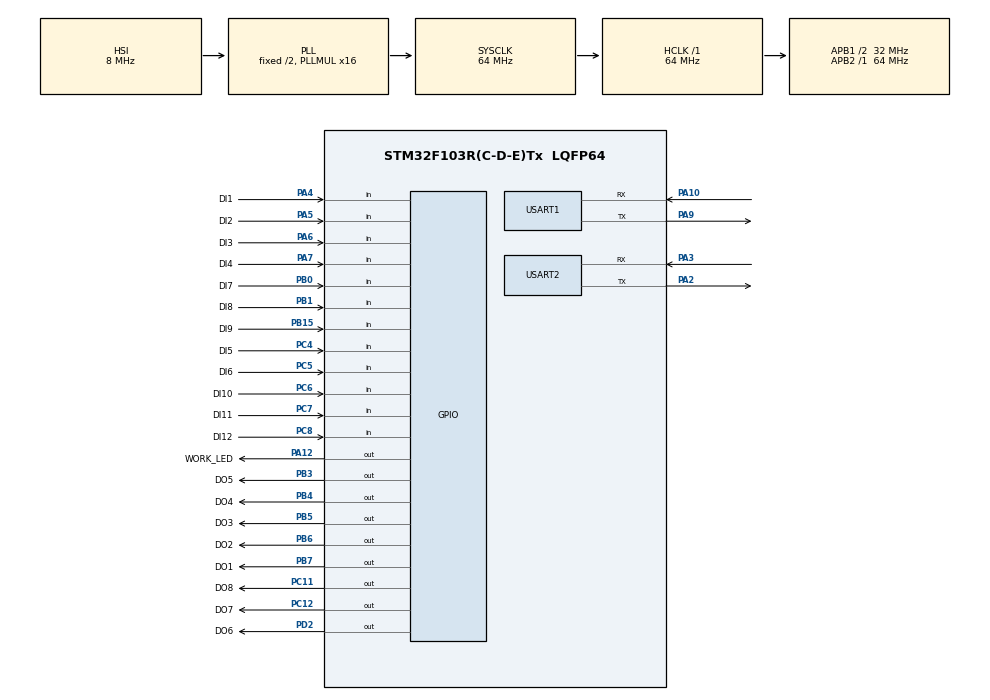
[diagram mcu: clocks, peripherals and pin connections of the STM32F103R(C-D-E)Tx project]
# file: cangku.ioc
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IWDG.Prescaler=IWDG_PRESCALER_256
Mcu.Family=STM32F1
Mcu.Name=STM32F103R(C-D-E)Tx
Mcu.Package=LQFP64
NVIC.FLASH_IRQn=true\:0\:0\:false\:false\:true\:true
NVIC.PriorityGroup=NVIC_PRIORITYGROUP_4
NVIC.RCC_IRQn=true\:0\:0\:false\:true\:true\:3\:true
NVIC.USART1_IRQn=true\:0\:0\:false\:true\:true\:2\:true
NVIC.USART2_IRQn=true\:0\:0\:false\:true\:true\:1\:true
PA10.GPIO_PuPd=GPIO_PULLUP
PA10.Mode=Asynchronous
PA10.Signal=USART1_RX
PA12.GPIO_Label=WORK_LED
PA12.GPIO_PuPd=GPIO_PULLUP
PA12.Signal=GPIO_Output
PA13.Mode=Serial_Wire
PA13.Signal=SYS_JTMS-SWDIO
PA14.Mode=Serial_Wire
PA14.Signal=SYS_JTCK-SWCLK
PA2.Mode=Asynchronous
PA2.Signal=USART2_TX
PA3.GPIO_PuPd=GPIO_PULLUP
PA3.Mode=Asynchronous
PA3.Signal=USART2_RX
PA4.GPIO_Label=DI1
PA4.GPIO_PuPd=GPIO_PULLUP
PA4.Signal=GPIO_Input
PA5.GPIO_Label=DI2
PA5.GPIO_PuPd=GPIO_PULLUP
PA5.Signal=GPIO_Input
PA6.GPIO_Label=DI3
PA6.GPIO_PuPd=GPIO_PULLUP
PA6.Signal=GPIO_Input
PA7.GPIO_Label=DI4
PA7.GPIO_PuPd=GPIO_PULLUP
PA7.Signal=GPIO_Input
PA9.GPIO_Mode=GPIO_MODE_AF_PP
PA9.Mode=Asynchronous
PA9.Signal=USART1_TX
PB0.GPIO_Label=DI7
PB0.GPIO_PuPd=GPIO_PULLUP
PB0.Signal=GPIO_Input
PB1.GPIO_Label=DI8
PB1.GPIO_PuPd=GPIO_PULLUP
PB1.Signal=GPIO_Input
PB15.GPIO_Label=DI9
PB15.GPIO_PuPd=GPIO_PULLUP
PB15.Signal=GPIO_Input
PB3.GPIO_Label=DO5
PB3.GPIO_PuPd=GPIO_PULLUP
PB3.Signal=GPIO_Output
PB4.GPIO_Label=DO4
PB4.GPIO_PuPd=GPIO_PULLUP
PB4.Signal=GPIO_Output
PB5.GPIO_Label=DO3
PB5.GPIO_PuPd=GPIO_PULLUP
PB5.Signal=GPIO_Output
PB6.GPIO_Label=DO2
PB6.GPIO_PuPd=GPIO_PULLUP
PB6.Signal=GPIO_Output
PB7.GPIO_Label=DO1
PB7.GPIO_PuPd=GPIO_PULLUP
PB7.Signal=GPIO_Output
PC11.GPIO_Label=DO8
PC11.GPIO_PuPd=GPIO_PULLUP
PC11.Signal=GPIO_Output
PC12.GPIO_Label=DO7
PC12.GPIO_PuPd=GPIO_PULLUP
PC12.Signal=GPIO_Output
PC4.GPIO_Label=DI5
PC4.GPIO_PuPd=GPIO_PULLUP
PC4.Signal=GPIO_Input
PC5.GPIO_Label=DI6
PC5.GPIO_PuPd=GPIO_PULLUP
PC5.Signal=GPIO_Input
PC6.GPIO_Label=DI10
PC6.GPIO_PuPd=GPIO_PULLUP
PC6.Signal=GPIO_Input
PC7.GPIO_Label=DI11
PC7.GPIO_PuPd=GPIO_PULLUP
PC7.Signal=GPIO_Input
PC8.GPIO_Label=DI12
PC8.GPIO_PuPd=GPIO_PULLUP
PC8.Signal=GPIO_Input
PD2.GPIO_Label=DO6
PD2.GPIO_PuPd=GPIO_PULLUP
PD2.Signal=GPIO_Output
ProjectManager.HeapSize=0x200
ProjectManager.StackSize=0x400
ProjectManager.TargetToolchain=MDK-ARM V5
RCC.AHBFreq_Value=64000000
RCC.APB1CLKDivider=RCC_HCLK_DIV2
RCC.APB1Freq_Value=32000000
RCC.APB1TimFreq_Value=64000000
RCC.APB2Freq_Value=64000000
RCC.APB2TimFreq_Value=64000000
RCC.HCLKFreq_Value=64000000
RCC.PLLMUL=RCC_PLL_MUL16
RCC.SYSCLKFreq_VALUE=64000000
RCC.SYSCLKSource=RCC_SYSCLKSOURCE_PLLCLK
RCC.USBFreq_Value=64000000
USART1.VirtualMode=VM_ASYNC
USART2.VirtualMode=VM_ASYNC
VP_IWDG_VS_IWDG.Mode=IWDG_Activate
board=custom

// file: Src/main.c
/**
  ******************************************************************************
  * @file           : main.c
  * @brief          : Main program body
  ******************************************************************************
  ** This notice applies to any and all portions of this file
  * that are not between comment pairs USER CODE BEGIN and
  * USER CODE END. Other portions of this file, whether
  * inserted by the user or by software development tools
  * are owned by their respective copyright owners.
  *
  * COPYRIGHT(c) 2018 STMicroelectronics
  *
  * Redistribution and use in source and binary forms, with or without modification,
  * are permitted provided that the following conditions are met:
  *   1. Redistributions of source code must retain the above copyright notice,
  *      this list of conditions and the following disclaimer.
  *   2. Redistributions in binary form must reproduce the above copyright notice,
  *      this list of conditions and the following disclaimer in the documentation
  *      and/or other materials provided with the distribution.
  *   3. Neither the name of STMicroelectronics nor the names of its contributors
  *      may be used to endorse or promote products derived from this software
  *      without specific prior written permission.
  *
  * THIS SOFTWARE IS PROVIDED BY THE COPYRIGHT HOLDERS AND CONTRIBUTORS "AS IS"
  * AND ANY EXPRESS OR IMPLIED WARRANTIES, INCLUDING, BUT NOT LIMITED TO, THE
  * IMPLIED WARRANTIES OF MERCHANTABILITY AND FITNESS FOR A PARTICULAR PURPOSE ARE
  * DISCLAIMED. IN NO EVENT SHALL THE COPYRIGHT HOLDER OR CONTRIBUTORS BE LIABLE
  * FOR ANY DIRECT, INDIRECT, INCIDENTAL, SPECIAL, EXEMPLARY, OR CONSEQUENTIAL
  * DAMAGES (INCLUDING, BUT NOT LIMITED TO, PROCUREMENT OF SUBSTITUTE GOODS OR
  * SERVICES; LOSS OF USE, DATA, OR PROFITS; OR BUSINESS INTERRUPTION) HOWEVER
  * CAUSED AND ON ANY THEORY OF LIABILITY, WHETHER IN CONTRACT, STRICT LIABILITY,
  * OR TORT (INCLUDING NEGLIGENCE OR OTHERWISE) ARISING IN ANY WAY OUT OF THE USE
  * OF THIS SOFTWARE, EVEN IF ADVISED OF THE POSSIBILITY OF SUCH DAMAGE.
  *
  ******************************************************************************
  */
#include "main.h"
#include "stm32f1xx_hal.h"

/* USER CODE BEGIN Includes */

#include "config.h"
/* USER CODE END Includes */

IWDG_HandleTypeDef hiwdg;

UART_HandleTypeDef huart1;
UART_HandleTypeDef huart2;

/* USER CODE BEGIN PV */
/* Private variables ---------------------------------------------------------*/

/* USER CODE END PV */

void SystemClock_Config(void);
static void MX_GPIO_Init(void);
static void MX_USART1_UART_Init(void);
static void MX_USART2_UART_Init(void);
static void MX_IWDG_Init(void);
static void MX_NVIC_Init(void);

/* USER CODE BEGIN PFP */
/* Private function prototypes -----------------------------------------------*/

volatile uint32_t task=0;

/* USER CODE END PFP */

/* USER CODE BEGIN 0 */

void delay(uint32_t ms)
{
	uint32_t smtp=task;
	while(smtp+ms>task);
}

/* USER CODE END 0 */

int main(void)
{

  /* MCU Configuration----------------------------------------------------------*/

  /* Reset of all peripherals, Initializes the Flash interface and the Systick. */
  HAL_Init();

  /* Configure the system clock */
  SystemClock_Config();

  /* Initialize all configured peripherals */
  MX_GPIO_Init();
  MX_USART1_UART_Init();
  MX_USART2_UART_Init();
//  MX_IWDG_Init();

  /* Initialize interrupts */
  MX_NVIC_Init();

  /* Infinite loop */
  /* USER CODE BEGIN WHILE */

	uint32_t	work_time=0;

	Config_Init();
  while (1)
  {
//		if(500<work_time)
		{
			work_time=0;
			HAL_GPIO_TogglePin(WORK_LED_GPIO_Port,WORK_LED_Pin);
		}

		DI.DI1=HAL_GPIO_ReadPin(DI1_GPIO_Port,DI1_Pin);
		DI.DI2=HAL_GPIO_ReadPin(DI2_GPIO_Port,DI2_Pin);
		DI.DI3=HAL_GPIO_ReadPin(DI3_GPIO_Port,DI3_Pin);
		DI.DI4=HAL_GPIO_ReadPin(DI4_GPIO_Port,DI4_Pin);
		DI.DI5=HAL_GPIO_ReadPin(DI5_GPIO_Port,DI5_Pin);
		DI.DI6=HAL_GPIO_ReadPin(DI6_GPIO_Port,DI6_Pin);
		DI.DI7=HAL_GPIO_ReadPin(DI7_GPIO_Port,DI7_Pin);
		DI.DI8=HAL_GPIO_ReadPin(DI8_GPIO_Port,DI8_Pin);
		DI.DI9=HAL_GPIO_ReadPin(DI9_GPIO_Port,DI9_Pin);
		DI.DI10=HAL_GPIO_ReadPin(DI10_GPIO_Port,DI10_Pin);
		DI.DI11=HAL_GPIO_ReadPin(DI11_GPIO_Port,DI11_Pin);
		DI.DI12=HAL_GPIO_ReadPin(DI12_GPIO_Port,DI12_Pin);

//		HAL_GPIO_WritePin(DO1_GPIO_Port,DO1_Pin,DO.DO1);
		HAL_GPIO_WritePin(DO2_GPIO_Port,DO2_Pin,DO.DO2);
		HAL_GPIO_WritePin(DO3_GPIO_Port,DO3_Pin,DO.DO3);
		HAL_GPIO_WritePin(DO4_GPIO_Port,DO4_Pin,DO.DO4);
		HAL_GPIO_WritePin(DO5_GPIO_Port,DO5_Pin,DO.DO5);
		HAL_GPIO_WritePin(DO6_GPIO_Port,DO6_Pin,DO.DO6);
		HAL_GPIO_WritePin(DO7_GPIO_Port,DO7_Pin,DO.DO7);
		HAL_GPIO_WritePin(DO8_GPIO_Port,DO8_Pin,DO.DO8);

		if(0!=DI.DI12)
			HAL_GPIO_TogglePin(DO1_GPIO_Port,DO1_Pin);

		delay(500);
  /* USER CODE END WHILE */

  }

}

void SystemClock_Config(void)
{

  RCC_OscInitTypeDef RCC_OscInitStruct;
  RCC_ClkInitTypeDef RCC_ClkInitStruct;

    /**Initializes the CPU, AHB and APB busses clocks
    */
  RCC_OscInitStruct.OscillatorType = RCC_OSCILLATORTYPE_HSI|RCC_OSCILLATORTYPE_LSI;
  RCC_OscInitStruct.HSIState = RCC_HSI_ON;
  RCC_OscInitStruct.HSICalibrationValue = 16;
  RCC_OscInitStruct.LSIState = RCC_LSI_ON;
  RCC_OscInitStruct.PLL.PLLState = RCC_PLL_ON;
  RCC_OscInitStruct.PLL.PLLSource = RCC_PLLSOURCE_HSI_DIV2;
  RCC_OscInitStruct.PLL.PLLMUL = RCC_PLL_MUL16;
  if (HAL_RCC_OscConfig(&RCC_OscInitStruct) != HAL_OK)
  {
    _Error_Handler(__FILE__, __LINE__);
  }

    /**Initializes the CPU, AHB and APB busses clocks
    */
  RCC_ClkInitStruct.ClockType = RCC_CLOCKTYPE_HCLK|RCC_CLOCKTYPE_SYSCLK
                              |RCC_CLOCKTYPE_PCLK1|RCC_CLOCKTYPE_PCLK2;
  RCC_ClkInitStruct.SYSCLKSource = RCC_SYSCLKSOURCE_PLLCLK;
  RCC_ClkInitStruct.AHBCLKDivider = RCC_SYSCLK_DIV1;
  RCC_ClkInitStruct.APB1CLKDivider = RCC_HCLK_DIV2;
  RCC_ClkInitStruct.APB2CLKDivider = RCC_HCLK_DIV1;

  if (HAL_RCC_ClockConfig(&RCC_ClkInitStruct, FLASH_LATENCY_2) != HAL_OK)
  {
    _Error_Handler(__FILE__, __LINE__);
  }

    /**Configure the Systick interrupt time
    */
  HAL_SYSTICK_Config(HAL_RCC_GetHCLKFreq()/1000);

    /**Configure the Systick
    */
  HAL_SYSTICK_CLKSourceConfig(SYSTICK_CLKSOURCE_HCLK);

  /* SysTick_IRQn interrupt configuration */
  HAL_NVIC_SetPriority(SysTick_IRQn, 0, 0);
}

/**
  * @brief NVIC Configuration.
  * @retval None
  */
static void MX_NVIC_Init(void)
{
  /* USART2_IRQn interrupt configuration */
  HAL_NVIC_SetPriority(USART2_IRQn, 0, 0);
  HAL_NVIC_EnableIRQ(USART2_IRQn);
  /* USART1_IRQn interrupt configuration */
  HAL_NVIC_SetPriority(USART1_IRQn, 0, 0);
  HAL_NVIC_EnableIRQ(USART1_IRQn);
  /* RCC_IRQn interrupt configuration */
  HAL_NVIC_SetPriority(RCC_IRQn, 0, 0);
  HAL_NVIC_EnableIRQ(RCC_IRQn);
}

/* IWDG init function */
static void MX_IWDG_Init(void)
{

  hiwdg.Instance = IWDG;
  hiwdg.Init.Prescaler = IWDG_PRESCALER_256;
  hiwdg.Init.Reload = 4095;
  if (HAL_IWDG_Init(&hiwdg) != HAL_OK)
  {
    _Error_Handler(__FILE__, __LINE__);
  }

}

/* USART1 init function */
static void MX_USART1_UART_Init(void)
{

  huart1.Instance = USART1;
  huart1.Init.BaudRate = 115200;
  huart1.Init.WordLength = UART_WORDLENGTH_8B;
  huart1.Init.StopBits = UART_STOPBITS_1;
  huart1.Init.Parity = UART_PARITY_NONE;
  huart1.Init.Mode = UART_MODE_TX_RX;
  huart1.Init.HwFlowCtl = UART_HWCONTROL_NONE;
  huart1.Init.OverSampling = UART_OVERSAMPLING_16;
  if (HAL_UART_Init(&huart1) != HAL_OK)
  {
    _Error_Handler(__FILE__, __LINE__);
  }

}

/* USART2 init function */
static void MX_USART2_UART_Init(void)
{

  huart2.Instance = USART2;
  huart2.Init.BaudRate = 115200;
  huart2.Init.WordLength = UART_WORDLENGTH_8B;
  huart2.Init.StopBits = UART_STOPBITS_1;
  huart2.Init.Parity = UART_PARITY_NONE;
  huart2.Init.Mode = UART_MODE_TX_RX;
  huart2.Init.HwFlowCtl = UART_HWCONTROL_NONE;
  huart2.Init.OverSampling = UART_OVERSAMPLING_16;
  if (HAL_UART_Init(&huart2) != HAL_OK)
  {
    _Error_Handler(__FILE__, __LINE__);
  }

}

/** Configure pins as
        * Analog
        * Input
        * Output
        * EVENT_OUT
        * EXTI
*/
static void MX_GPIO_Init(void)
{

  GPIO_InitTypeDef GPIO_InitStruct;

  /* GPIO Ports Clock Enable */
  __HAL_RCC_GPIOA_CLK_ENABLE();
  __HAL_RCC_GPIOC_CLK_ENABLE();
  __HAL_RCC_GPIOB_CLK_ENABLE();
  __HAL_RCC_GPIOD_CLK_ENABLE();

  /*Configure GPIO pin Output Level */
  HAL_GPIO_WritePin(WORK_LED_GPIO_Port, WORK_LED_Pin, GPIO_PIN_RESET);

  /*Configure GPIO pin Output Level */
  HAL_GPIO_WritePin(GPIOC, DO8_Pin|DO7_Pin, GPIO_PIN_RESET);

  /*Configure GPIO pin Output Level */
  HAL_GPIO_WritePin(DO6_GPIO_Port, DO6_Pin, GPIO_PIN_RESET);

  /*Configure GPIO pin Output Level */
  HAL_GPIO_WritePin(GPIOB, DO5_Pin|DO4_Pin|DO3_Pin|DO2_Pin
                          |DO1_Pin, GPIO_PIN_RESET);

  /*Configure GPIO pins : DI1_Pin DI2_Pin DI3_Pin DI4_Pin */
  GPIO_InitStruct.Pin = DI1_Pin|DI2_Pin|DI3_Pin|DI4_Pin;
  GPIO_InitStruct.Mode = GPIO_MODE_INPUT;
  GPIO_InitStruct.Pull = GPIO_PULLUP;
  HAL_GPIO_Init(GPIOA, &GPIO_InitStruct);

  /*Configure GPIO pins : DI5_Pin DI6_Pin DI10_Pin DI11_Pin
                           DI12_Pin */
  GPIO_InitStruct.Pin = DI5_Pin|DI6_Pin|DI10_Pin|DI11_Pin
                          |DI12_Pin;
  GPIO_InitStruct.Mode = GPIO_MODE_INPUT;
  GPIO_InitStruct.Pull = GPIO_PULLUP;
  HAL_GPIO_Init(GPIOC, &GPIO_InitStruct);

  /*Configure GPIO pins : DI7_Pin DI8_Pin DI9_Pin */
  GPIO_InitStruct.Pin = DI7_Pin|DI8_Pin|DI9_Pin;
  GPIO_InitStruct.Mode = GPIO_MODE_INPUT;
  GPIO_InitStruct.Pull = GPIO_PULLUP;
  HAL_GPIO_Init(GPIOB, &GPIO_InitStruct);

  /*Configure GPIO pin : WORK_LED_Pin */
  GPIO_InitStruct.Pin = WORK_LED_Pin;
  GPIO_InitStruct.Mode = GPIO_MODE_OUTPUT_PP;
  GPIO_InitStruct.Pull = GPIO_PULLUP;
  GPIO_InitStruct.Speed = GPIO_SPEED_FREQ_LOW;
  HAL_GPIO_Init(WORK_LED_GPIO_Port, &GPIO_InitStruct);

  /*Configure GPIO pins : DO8_Pin DO7_Pin */
  GPIO_InitStruct.Pin = DO8_Pin|DO7_Pin;
  GPIO_InitStruct.Mode = GPIO_MODE_OUTPUT_PP;
  GPIO_InitStruct.Pull = GPIO_PULLUP;
  GPIO_InitStruct.Speed = GPIO_SPEED_FREQ_LOW;
  HAL_GPIO_Init(GPIOC, &GPIO_InitStruct);

  /*Configure GPIO pin : DO6_Pin */
  GPIO_InitStruct.Pin = DO6_Pin;
  GPIO_InitStruct.Mode = GPIO_MODE_OUTPUT_PP;
  GPIO_InitStruct.Pull = GPIO_PULLUP;
  GPIO_InitStruct.Speed = GPIO_SPEED_FREQ_LOW;
  HAL_GPIO_Init(DO6_GPIO_Port, &GPIO_InitStruct);

  /*Configure GPIO pins : DO5_Pin DO4_Pin DO3_Pin DO2_Pin
                           DO1_Pin */
  GPIO_InitStruct.Pin = DO5_Pin|DO4_Pin|DO3_Pin|DO2_Pin
                          |DO1_Pin;
  GPIO_InitStruct.Mode = GPIO_MODE_OUTPUT_PP;
  GPIO_InitStruct.Pull = GPIO_PULLUP;
  GPIO_InitStruct.Speed = GPIO_SPEED_FREQ_LOW;
  HAL_GPIO_Init(GPIOB, &GPIO_InitStruct);

}

void _Error_Handler(char *file, int line)
{
  while(1)
  {
  }
}

/************************ (C) COPYRIGHT STMicroelectronics *****END OF FILE****/
